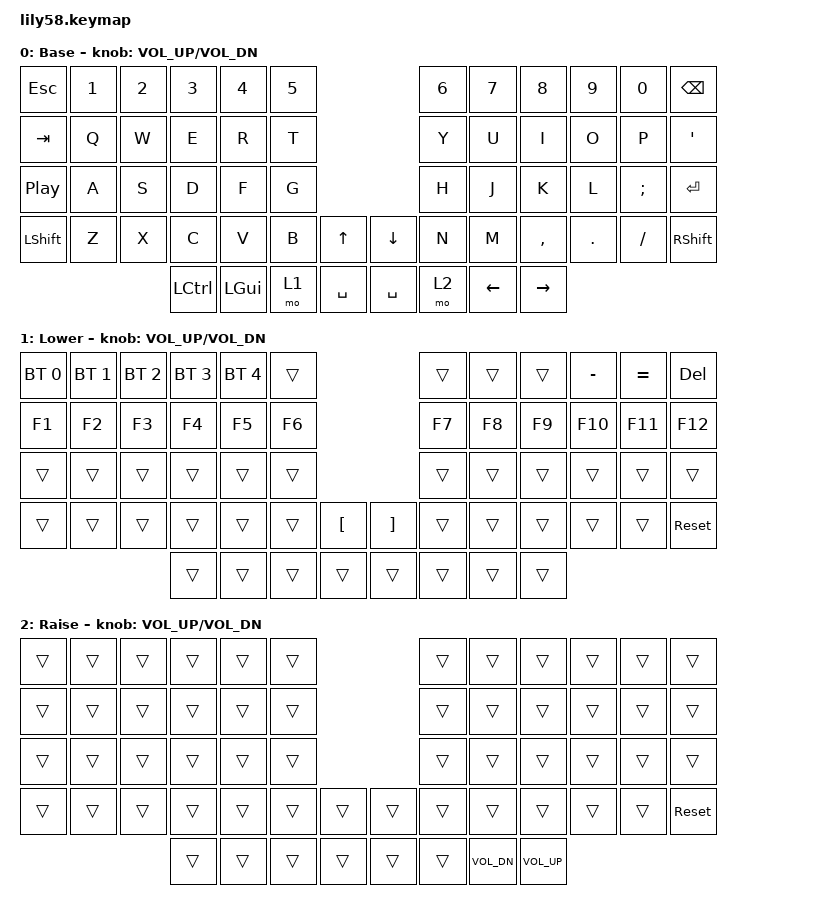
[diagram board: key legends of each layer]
/*
 * Copyright (c) 2020 The ZMK Contributors
 *
 * SPDX-License-Identifier: MIT
 */

#include <behaviors.dtsi>
#include <dt-bindings/zmk/bt.h>
#include <dt-bindings/zmk/keys.h>

/ {
    keymap {
        compatible = "zmk,keymap";

        default_layer {
            // ------------------------------------------------------------------------------------------------------------
            // |  ESC  |  1  |  2  |  3   |  4   |  5   |                   |  6   |  7    |  8    |  9   |   0   |   `   |
            // |  TAB  |  Q  |  W  |  E   |  R   |  T   |                   |  Y   |  U    |  I    |  O   |   P   |   -   |
            // |  CTRL |  A  |  S  |  D   |  F   |  G   |                   |  H   |  J    |  K    |  L   |   ;   |   '   |
            // | SHIFT |  Z  |  X  |  C   |  V   |  B   |   "["  |  |  "]"  |  N   |  M    |  ,    |  .   |   /   | SHIFT |
            //                     | ALT  | GUI  | LOWER|  SPACE |  | ENTER | RAISE| BSPC  | GUI   |

            display-name = "Base";
            bindings = <
&kp ESC           &kp N1  &kp N2  &kp N3            &kp N4    &kp N5                             &kp N6  &kp N7          &kp N8           &kp N9   &kp N0    &kp BACKSPACE
&kp TAB           &kp Q   &kp W   &kp E             &kp R     &kp T                              &kp Y   &kp U           &kp I            &kp O    &kp P     &kp APOSTROPHE
&kp C_PLAY_PAUSE  &kp A   &kp S   &kp D             &kp F     &kp G                              &kp H   &kp J           &kp K            &kp L    &kp SEMI  &kp ENTER
&kp LEFT_SHIFT    &kp Z   &kp X   &kp C             &kp V     &kp B   &kp UP_ARROW    &kp DOWN   &kp N   &kp M           &kp COMMA        &kp DOT  &kp FSLH  &kp RSHFT
                                  &kp LEFT_CONTROL  &kp LGUI  &mo 1   &kp SPACE       &kp SPACE  &mo 2   &kp LEFT_ARROW  &kp RIGHT_ARROW
            >;

            sensor-bindings = <&inc_dec_kp C_VOL_UP C_VOL_DN>;
        };

        lower_layer {
            // ------------------------------------------------------------------------------------------------------------
            // | BTCLR | BT1 | BT2 |  BT3 |  BT4 |  BT5 |                   |      |       |       |      |       |       |
            // |  F1   |  F2 |  F3 |  F4  |  F5  |  F6  |                   |  F7  |  F8   |  F9   |  F10 |  F11  |  F12  |
            // |   `   |  !  |  @  |  #   |  $   |  %   |                   |  ^   |  &    |  *    |  (   |   )   |   ~   |
            // |       |     |     |      |      |      |        |  |       |      |  _    |  +    |  {   |   }   |  "|"  |
            //                     |      |      |      |        |  |       |      |       |       |

            display-name = "Lower";
            bindings = <
&bt BT_SEL 0  &bt BT_SEL 1  &bt BT_SEL 2  &bt BT_SEL 3  &bt BT_SEL 4  &trans                                         &trans  &trans  &trans  &kp MINUS  &kp EQUAL  &kp DEL
&kp F1        &kp F2        &kp F3        &kp F4        &kp F5        &kp F6                                         &kp F7  &kp F8  &kp F9  &kp F10    &kp F11    &kp F12
&trans        &trans        &trans        &trans        &trans        &trans                                         &trans  &trans  &trans  &trans     &trans     &trans
&trans        &trans        &trans        &trans        &trans        &trans  &kp LEFT_BRACKET    &kp RIGHT_BRACKET  &trans  &trans  &trans  &trans     &trans     &sys_reset
                                          &trans        &trans        &trans  &trans              &trans             &trans  &trans  &trans
            >;

            sensor-bindings = <&inc_dec_kp C_VOL_UP C_VOL_DN>;
        };

        raise_layer {
            // ------------------------------------------------------------------------------------------------------------
            // |       |     |     |      |      |      |                   |      |       |       |      |       |       |
            // |   `   |  1  |  2  |  3   |  4   |  5   |                   |  6   |   7   |   8   |  9   |   0   |       |
            // |   F1  |  F2 |  F3 |  F4  |  F5  |  F6  |                   |      |   <-  |   v   |  ^   |  ->   |       |
            // |   F7  |  F8 |  F9 |  F10 |  F11 |  F12 |        |  |       |  +   |   -   |   =   |  [   |   ]   |   \   |
            //                     |      |      |      |        |  |       |      |       |       |

            display-name = "Raise";
            bindings = <
&trans  &trans  &trans  &trans  &trans  &trans                    &trans  &trans        &trans        &trans  &trans  &trans
&trans  &trans  &trans  &trans  &trans  &trans                    &trans  &trans        &trans        &trans  &trans  &trans
&trans  &trans  &trans  &trans  &trans  &trans                    &trans  &trans        &trans        &trans  &trans  &trans
&trans  &trans  &trans  &trans  &trans  &trans  &trans    &trans  &trans  &trans        &trans        &trans  &trans  &sys_reset
                        &trans  &trans  &trans  &trans    &trans  &trans  &kp C_VOL_DN  &kp C_VOL_UP
            >;

            sensor-bindings = <&inc_dec_kp C_VOL_UP C_VOL_DN>;
        };

        extra_1 { status = "reserved"; };

        extra_2 { status = "reserved"; };

        extra_3 { status = "reserved"; };
    };
};
